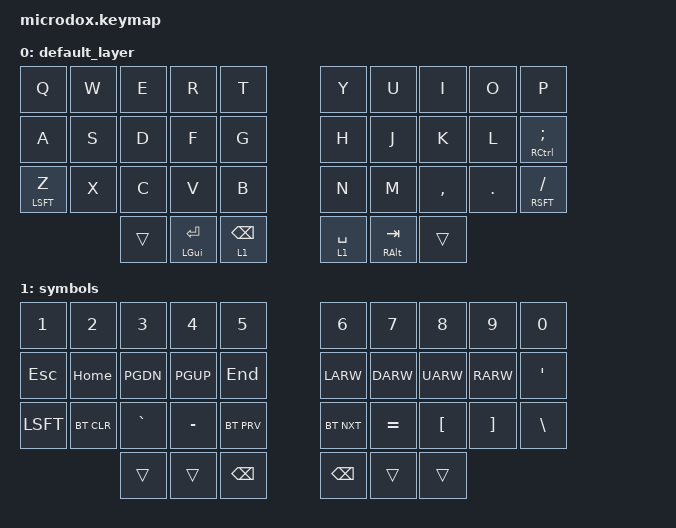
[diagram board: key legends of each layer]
#include <behaviors.dtsi>
#include <dt-bindings/zmk/keys.h>
#include <dt-bindings/zmk/bt.h>


/ {
    keymap {
        compatible = "zmk,keymap";

        default_layer {
            bindings = <
            &kp Q &kp W &kp E &kp R &kp T 		&kp Y &kp U  &kp I    &kp O   &kp P
            &kp A &kp S &kp D &kp F &kp G 		&kp H &kp J  &kp K    &kp L   &mt RCTL SCLN
            &mt LSFT Z &kp X &kp C &kp V &kp B		&kp N &kp M  &kp CMMA &kp DOT &mt RSFT FSLH
            &trans &mt LGUI RET &lt 1 BKSP 		&lt 1 SPC &mt RALT TAB &trans
            >;
        };

        symbols {
            bindings = <
            &kp NUM_1 &kp NUM_2 &kp NUM_3 &kp NUM_4 &kp NUM_5   &kp NUM_6 &kp NUM_7 &kp NUM_8 &kp NUM_9 &kp NUM_0
            &kp ESC &kp HOME &kp PGDN &kp PGUP &kp END      &kp LARW &kp DARW &kp UARW &kp RARW &kp QUOT
            &kp LSFT &bt BT_CLR &kp GRAV &kp MINUS &bt BT_PRV      &bt BT_NXT &kp EQL &kp LBKT &kp RBKT &kp BSLH
            &trans &trans &kp BKSP   &kp BKSP &trans &trans
            >;
        };
    };
};
